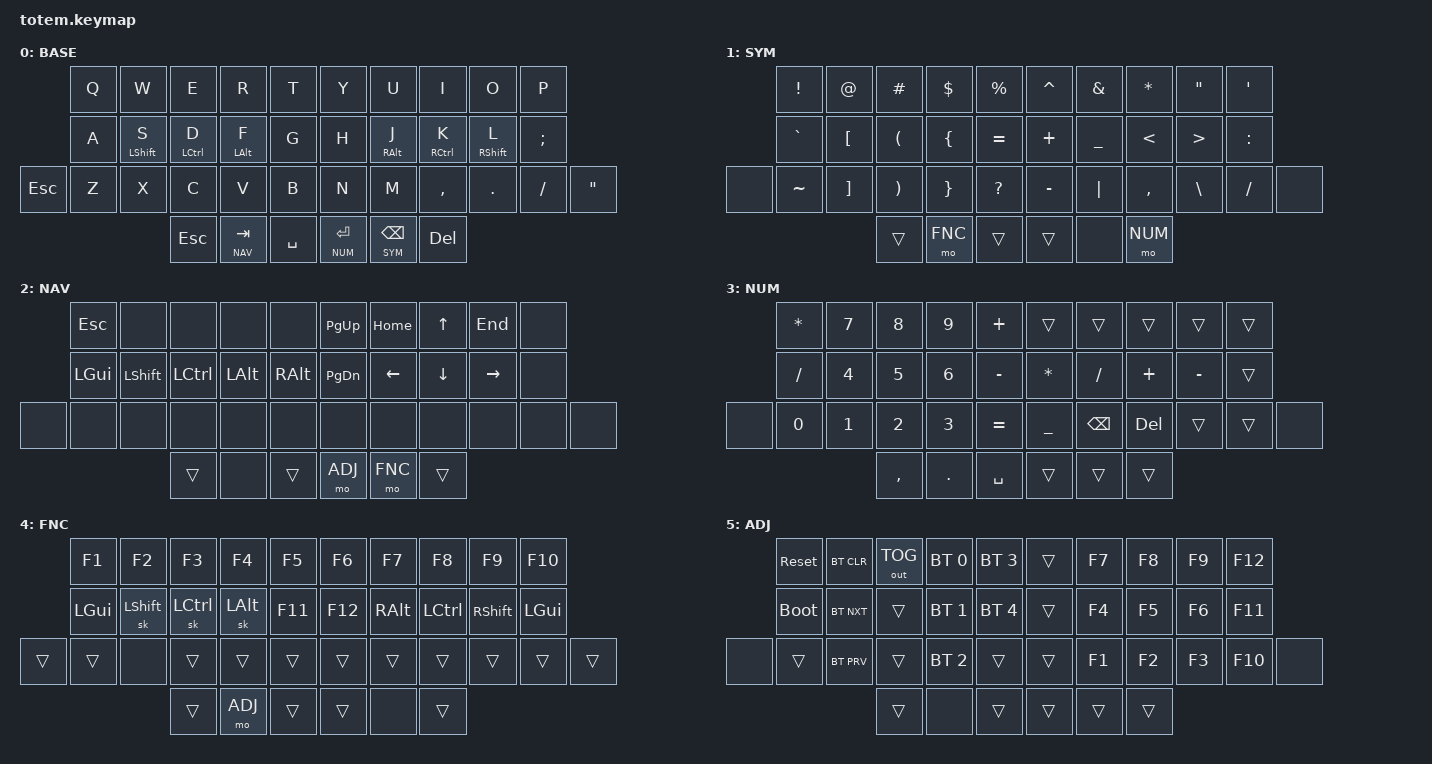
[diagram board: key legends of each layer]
#include <behaviors.dtsi>
#include <dt-bindings/zmk/bt.h>
#include <dt-bindings/zmk/keys.h>
#include <dt-bindings/zmk/outputs.h>

#define BASE 0
#define SYM  1
#define NAV  2
#define NUM  3
#define FNC  4
#define ADJ  5

&sk {
    // don't release mods on other mods presses

    ignore-modifiers;
};

&lt { quick-tap-ms = <200>; };

&mt {
    global-quick-tap;
    quick-tap-ms = <200>;
    flavor = "tap-preferred";
    tapping-term-ms = <190>;
};

&caps_word { continue-list = <UNDERSCORE MINUS BACKSPACE DELETE PLUS>; };

/ {
    behaviors {
        // Enables holding the first mod-tap key
        // by performing a tap-release-hold sequence.
        // To use it: "&qt KEYCODE1 KEYCODE2"

        hm: homerow_mods {
            compatible = "zmk,behavior-hold-tap";
            label = "HOMEROW_MODS";
            #binding-cells = <2>;
            tapping-term-ms = <180>;
            quick-tap-ms = <190>;
            flavor = "tap-preferred";
            bindings = <&kp>, <&kp>;
        };

        hmr: hmr {
            compatible = "zmk,behavior-hold-tap";
            label = "Home Row Mod - Right";
            #binding-cells = <2>;
            tapping-term-ms = <220>;
            quick-tap-ms = <190>;
            flavor = "tap-preferred";
            bindings = <&kp>, <&kp>;

            hold-trigger-key-positions = <0 1 2 3 4 10 11 12 13 14 20 21 22 23 24 32 33 34 25>;
        };

        hml: hml {
            compatible = "zmk,behavior-hold-tap";
            label = "Home Row Mods - Left";
            #binding-cells = <2>;
            tapping-term-ms = <220>;
            quick-tap-ms = <190>;
            flavor = "tap-preferred";
            bindings = <&kp>, <&kp>;

            hold-trigger-key-positions = <5 6 7 8 9 15 16 17 18 19 26 27 28 29 19 26 27 29 30 31 35 36 37>;
        };
    };

    combos {
        compatible = "zmk,combos";

        // Quickly access FNC layer to using function keys
        // Enable capsword

        Capsword {
            bindings = <&caps_word>;
            key-positions = <14 15>;
            timeout-ms = <500>;
            require-prior-idle-ms = <500>;
            layers = <0>;
        };

        qck_fnc {
            bindings = <&sl 4>;
            key-positions = <33 36>;
            timeout-ms = <250>;
            require-prior-idle-ms = <500>;
            layers = <0>;
        };

        qck_bt {
            bindings = <&sl 5>;
            key-positions = <14 13>;
            timeout-ms = <250>;
            require-prior-idle-ms = <550>;
        };

        webdevtools {
            bindings = <&kp F12>;
            key-positions = <31 19>;
            layers = <2>;
            require-prior-idle-ms = <150>;
        };

        // Toggle Capslockcapslock {};
    };

    keymap {
        compatible = "zmk,keymap";

        // ▄▄▄▄▄▄▄▄▄▄▄▄▄▄▄▄▄▄▄▄▄▄▄▄▄▄▄▄▄▄▄▄▄▄▄▄▄▄▄▄▄▄▄▄▄▄▄▄▄▄▄▄▄▄▄▄▄▄▄▄▄▄▄▄▄▄▄▄▄▄▄▄▄▄▄▄▄▄▄▄▄▄▄▄▄▄▄▄▄▄▄▄▄▄▄▄▄▄▄▄▄▄▄▄▄▄▄▄▄▄▄▄▄▄▄▄▄▄▄▄▄▄▄▄▄▄▄▄▄▄▄▄▄▄▄▄▄▄▄▄▄▄▄▄▄▄▄▄▄

        base_layer {
            // ┏━━━━━━━━━━━━━━━━━━━━━━━━━━━━━━━━━━━━━━━┓

            label = "BASE";

            // ┗━━━━━━━━━━━━━━━━━━━━━━━━━━━━━━━━━━━━━━━┛
            //             ┏━━━━━━━━━━━┳━━━━━━━━━━━┳━━━━━━━━━━━┳━━━━━━━━━━━┳━━━━━━━━━━━┓   ┏━━━━━━━━━━━┳━━━━━━━━━━━┳━━━━━━━━━━━┳━━━━━━━━━━━┳━━━━━━━━━━━┓
            //             ┃     Q     ┃     W     ┃     E     ┃     R     ┃     T     ┃   ┃     Y     ┃     U     ┃     I     ┃     O     ┃     P     ┃
            //             ┣━━━━━━━━━━━╋━━━━━━━━━━━╋━━━━━━━━━━━╋━━━━━━━━━━━╋━━━━━━━━━━━┫   ┣━━━━━━━━━━━╋━━━━━━━━━━━╋━━━━━━━━━━━╋━━━━━━━━━━━╋━━━━━━━━━━━┫
            //             ┃     A     ┃  LSFT/S   ┃  LCTRL/D  ┃  LALT/F   ┃     G     ┃   ┃     H     ┃   RALT/J  ┃  RCTRL/K  ┃  RSHFT/L  ┃     ;     ┃
            // ┏━━━━━━━━━━━╋━━━━━━━━━━━╋━━━━━━━━━━━╋━━━━━━━━━━━╋━━━━━━━━━━━╋━━━━━━━━━━━┫   ┣━━━━━━━━━━━╋━━━━━━━━━━━╋━━━━━━━━━━━╋━━━━━━━━━━━╋━━━━━━━━━━━╋━━━━━━━━━━━┓
            // ┃           ┃     Z     ┃     X     ┃     C     ┃     V     ┃     B     ┃   ┃     N     ┃     M     ┃     ,     ┃     .     ┃     /     ┃           ┃
            // ┗━━━━━━━━━━━┻━━━━━━━━━━━┻━━━━━━━━━━━╋━━━━━━━━━━━╋━━━━━━━━━━━╋━━━━━━━━━━━┫   ┣━━━━━━━━━━━╋━━━━━━━━━━━╋━━━━━━━━━━━╋━━━━━━━━━━━┻━━━━━━━━━━━┻━━━━━━━━━━━┛
            //                                     ┃    ESC    ┃    TAB    ┃    SPC    ┃   ┃    ENTR   ┃   BSPC    ┃    DEL    ┃
            //                                     ┗━━━━━━━━━━━┻━━━━━━━━━━━┻━━━━━━━━━━━┛   ┗━━━━━━━━━━━┻━━━━━━━━━━━┻━━━━━━━━━━━┛

            bindings = <
         &kp Q  &kp W         &kp E         &kp R        &kp T        &kp Y        &kp U              &kp I         &kp O         &kp P
         &kp A  &hml LSHFT S  &hml LCTRL D  &hml LALT F  &kp G        &kp H        &hmr RALT J        &hmr RCTRL K  &hmr RSHFT L  &kp SEMI
&kp ESC  &kp Z  &kp X         &kp C         &kp V        &kp B        &kp N        &kp M              &kp COMMA     &kp DOT       &kp FSLH  &kp DQT
                              &kp ESC       &lt NAV TAB  &kp SPACE    &lt NUM RET  &lt SYM BACKSPACE  &kp DEL
            >;
        };

        // ▄▄▄▄▄▄▄▄▄▄▄▄▄▄▄▄▄▄▄▄▄▄▄▄▄▄▄▄▄▄▄▄▄▄▄▄▄▄▄▄▄▄▄▄▄▄▄▄▄▄▄▄▄▄▄▄▄▄▄▄▄▄▄▄▄▄▄▄▄▄▄▄▄▄▄▄▄▄▄▄▄▄▄▄▄▄▄▄▄▄▄▄▄▄▄▄▄▄▄▄▄▄▄▄▄▄▄▄▄▄▄▄▄▄▄▄▄▄▄▄▄▄▄▄▄▄▄▄▄▄▄▄▄▄▄▄▄▄▄▄▄▄▄▄▄▄▄▄▄

        sym_layer {
            // ┏━━━━━━━━━━━━━━━━━━━━━━━━━━━━━━━━━━━━━━━┓

            label = "SYM";

            // ┗━━━━━━━━━━━━━━━━━━━━━━━━━━━━━━━━━━━━━━━┛
            //             ┏━━━━━━━━━━━┳━━━━━━━━━━━┳━━━━━━━━━━━┳━━━━━━━━━━━┳━━━━━━━━━━━┓   ┏━━━━━━━━━━━┳━━━━━━━━━━━┳━━━━━━━━━━━┳━━━━━━━━━━━┳━━━━━━━━━━━┓
            //             ┃     !     ┃     @     ┃     #     ┃     $     ┃     %     ┃   ┃     ^     ┃     &     ┃     *     ┃     "     ┃     '     ┃
            //             ┣━━━━━━━━━━━╋━━━━━━━━━━━╋━━━━━━━━━━━╋━━━━━━━━━━━╋━━━━━━━━━━━┫   ┣━━━━━━━━━━━╋━━━━━━━━━━━╋━━━━━━━━━━━╋━━━━━━━━━━━╋━━━━━━━━━━━┫
            //             ┃     `     ┃     [     ┃     (     ┃     {     ┃     =     ┃   ┃     +     ┃     _     ┃     <     ┃     >     ┃     :     ┃
            // ┏━━━━━━━━━━━╋━━━━━━━━━━━╋━━━━━━━━━━━╋━━━━━━━━━━━╋━━━━━━━━━━━╋━━━━━━━━━━━┫   ┣━━━━━━━━━━━╋━━━━━━━━━━━╋━━━━━━━━━━━╋━━━━━━━━━━━╋━━━━━━━━━━━╋━━━━━━━━━━━┓
            // ┃           ┃     ~     ┃     ]     ┃     )     ┃     }     ┃     ?     ┃   ┃     -     ┃     |     ┃     ,     ┃     \     ┃     /     ┃           ┃
            // ┗━━━━━━━━━━━┻━━━━━━━━━━━┻━━━━━━━━━━━╋━━━━━━━━━━━╋━━━━━━━━━━━╋━━━━━━━━━━━┫   ┣━━━━━━━━━━━╋━━━━━━━━━━━╋━━━━━━━━━━━╋━━━━━━━━━━━┻━━━━━━━━━━━┻━━━━━━━━━━━┛
            //                                     ┃           ┃    FNC    ┃           ┃   ┃           ┃           ┃    NUM    ┃
            //                                     ┗━━━━━━━━━━━┻━━━━━━━━━━━┻━━━━━━━━━━━┛   ┗━━━━━━━━━━━┻━━━━━━━━━━━┻━━━━━━━━━━━┛

            bindings = <
       &kp EXCL   &kp AT    &kp POUND  &kp DOLLAR  &kp PERCENT     &kp CARET  &kp AMPS   &kp ASTRK  &kp DQT        &kp SQT
       &kp GRAVE  &kp LBKT  &kp LPAR   &kp LBRC    &kp EQUAL       &kp PLUS   &kp UNDER  &kp LT     &kp GT         &kp COLON
&none  &kp TILDE  &kp RBKT  &kp RPAR   &kp RBRC    &kp QUESTION    &kp MINUS  &kp PIPE   &kp COMMA  &kp BACKSLASH  &kp FSLH   &none
                            &trans     &mo FNC     &trans          &trans     &none      &mo NUM
            >;
        };

        // ▄▄▄▄▄▄▄▄▄▄▄▄▄▄▄▄▄▄▄▄▄▄▄▄▄▄▄▄▄▄▄▄▄▄▄▄▄▄▄▄▄▄▄▄▄▄▄▄▄▄▄▄▄▄▄▄▄▄▄▄▄▄▄▄▄▄▄▄▄▄▄▄▄▄▄▄▄▄▄▄▄▄▄▄▄▄▄▄▄▄▄▄▄▄▄▄▄▄▄▄▄▄▄▄▄▄▄▄▄▄▄▄▄▄▄▄▄▄▄▄▄▄▄▄▄▄▄▄▄▄▄▄▄▄▄▄▄▄▄▄▄▄▄▄▄▄▄▄▄

        nav_layer {
            // ┏━━━━━━━━━━━━━━━━━━━━━━━━━━━━━━━━━━━━━━━┓

            label = "NAV";

            // ┗━━━━━━━━━━━━━━━━━━━━━━━━━━━━━━━━━━━━━━━┛
            //             ┏━━━━━━━━━━━┳━━━━━━━━━━━┳━━━━━━━━━━━┳━━━━━━━━━━━┳━━━━━━━━━━━┓   ┏━━━━━━━━━━━┳━━━━━━━━━━━┳━━━━━━━━━━━┳━━━━━━━━━━━┳━━━━━━━━━━━┓
            //             ┃    ESC    ┃           ┃           ┃           ┃           ┃   ┃    PGUP   ┃    HOME   ┃     ^     ┃    END    ┃           ┃
            //             ┣━━━━━━━━━━━╋━━━━━━━━━━━╋━━━━━━━━━━━╋━━━━━━━━━━━╋━━━━━━━━━━━┫   ┣━━━━━━━━━━━╋━━━━━━━━━━━╋━━━━━━━━━━━╋━━━━━━━━━━━╋━━━━━━━━━━━┫
            //             ┃    LGUI   ┃   LSHFT   ┃   LCTRL   ┃    LALT   ┃           ┃   ┃    PGDN   ┃     <     ┃     v     ┃      >    ┃           ┃
            // ┏━━━━━━━━━━━╋━━━━━━━━━━━╋━━━━━━━━━━━╋━━━━━━━━━━━╋━━━━━━━━━━━╋━━━━━━━━━━━┫   ┣━━━━━━━━━━━╋━━━━━━━━━━━╋━━━━━━━━━━━╋━━━━━━━━━━━╋━━━━━━━━━━━╋━━━━━━━━━━━┓
            // ┃           ┃           ┃           ┃           ┃           ┃           ┃   ┃  L(BSPC)  ┃   BSPC    ┃    DEL    ┃           ┃           ┃           ┃
            // ┗━━━━━━━━━━━┻━━━━━━━━━━━┻━━━━━━━━━━━╋━━━━━━━━━━━╋━━━━━━━━━━━╋━━━━━━━━━━━┫   ┣━━━━━━━━━━━╋━━━━━━━━━━━╋━━━━━━━━━━━╋━━━━━━━━━━━┻━━━━━━━━━━━┻━━━━━━━━━━━┛
            //                                     ┃           ┃           ┃           ┃   ┃    ADJ    ┃    FNC    ┃           ┃
            //                                     ┗━━━━━━━━━━━┻━━━━━━━━━━━┻━━━━━━━━━━━┛   ┗━━━━━━━━━━━┻━━━━━━━━━━━┻━━━━━━━━━━━┛

            bindings = <
       &kp ESC       &none      &none      &none     &none       &kp PG_UP  &kp HOME  &kp UP    &kp END    &none
       &kp LEFT_GUI  &kp LSHFT  &kp LCTRL  &kp LALT  &kp RALT    &kp PG_DN  &kp LEFT  &kp DOWN  &kp RIGHT  &none
&none  &none         &none      &none      &none     &none       &none      &none     &none     &none      &none  &none
                                &trans     &none     &trans      &mo ADJ    &mo FNC   &trans
            >;
        };

        // ▄▄▄▄▄▄▄▄▄▄▄▄▄▄▄▄▄▄▄▄▄▄▄▄▄▄▄▄▄▄▄▄▄▄▄▄▄▄▄▄▄▄▄▄▄▄▄▄▄▄▄▄▄▄▄▄▄▄▄▄▄▄▄▄▄▄▄▄▄▄▄▄▄▄▄▄▄▄▄▄▄▄▄▄▄▄▄▄▄▄▄▄▄▄▄▄▄▄▄▄▄▄▄▄▄▄▄▄▄▄▄▄▄▄▄▄▄▄▄▄▄▄▄▄▄▄▄▄▄▄▄▄▄▄▄▄▄▄▄▄▄▄▄▄▄▄▄▄▄

        number_layer {
            // ┏━━━━━━━━━━━━━━━━━━━━━━━━━━━━━━━━━━━━━━━┓

            label = "NUM";

            // ┗━━━━━━━━━━━━━━━━━━━━━━━━━━━━━━━━━━━━━━━┛
            //             ┏━━━━━━━━━━━┳━━━━━━━━━━━┳━━━━━━━━━━━┳━━━━━━━━━━━┳━━━━━━━━━━━┓   ┏━━━━━━━━━━━┳━━━━━━━━━━━┳━━━━━━━━━━━┳━━━━━━━━━━━┳━━━━━━━━━━━┓
            //             ┃     *     ┃     7     ┃     8     ┃     9     ┃     +     ┃   ┃           ┃           ┃           ┃           ┃           ┃
            //             ┣━━━━━━━━━━━╋━━━━━━━━━━━╋━━━━━━━━━━━╋━━━━━━━━━━━╋━━━━━━━━━━━┫   ┣━━━━━━━━━━━╋━━━━━━━━━━━╋━━━━━━━━━━━╋━━━━━━━━━━━╋━━━━━━━━━━━┫
            //             ┃     \     ┃     4     ┃     5     ┃     6     ┃     -     ┃   ┃     *     ┃    \      ┃     +     ┃    -      ┃           ┃
            // ┏━━━━━━━━━━━╋━━━━━━━━━━━╋━━━━━━━━━━━╋━━━━━━━━━━━╋━━━━━━━━━━━╋━━━━━━━━━━━┫   ┣━━━━━━━━━━━╋━━━━━━━━━━━╋━━━━━━━━━━━╋━━━━━━━━━━━╋━━━━━━━━━━━╋━━━━━━━━━━━┓
            // ┃           ┃     0     ┃     1     ┃     2     ┃     3     ┃     =     ┃   ┃     _     ┃    BSPC   ┃    DEL    ┃           ┃           ┃           ┃
            // ┗━━━━━━━━━━━┻━━━━━━━━━━━┻━━━━━━━━━━━╋━━━━━━━━━━━╋━━━━━━━━━━━╋━━━━━━━━━━━┫   ┣━━━━━━━━━━━╋━━━━━━━━━━━╋━━━━━━━━━━━╋━━━━━━━━━━━┻━━━━━━━━━━━┻━━━━━━━━━━━┛
            //                                     ┃     ,     ┃     .     ┃    SPC    ┃   ┃           ┃           ┃           ┃
            //                                     ┗━━━━━━━━━━━┻━━━━━━━━━━━┻━━━━━━━━━━━┛   ┗━━━━━━━━━━━┻━━━━━━━━━━━┻━━━━━━━━━━━┛

            bindings = <
       &kp ASTRK  &kp N7  &kp N8     &kp N9   &kp PLUS     &trans     &trans     &trans    &trans     &trans
       &kp SLASH  &kp N4  &kp N5     &kp N6   &kp MINUS    &kp ASTRK  &kp SLASH  &kp PLUS  &kp MINUS  &trans
&none  &kp N0     &kp N1  &kp N2     &kp N3   &kp EQUAL    &kp UNDER  &kp BSPC   &kp DEL   &trans     &trans  &none
                          &kp COMMA  &kp DOT  &kp SPACE    &trans     &trans     &trans
            >;
        };

        // ▄▄▄▄▄▄▄▄▄▄▄▄▄▄▄▄▄▄▄▄▄▄▄▄▄▄▄▄▄▄▄▄▄▄▄▄▄▄▄▄▄▄▄▄▄▄▄▄▄▄▄▄▄▄▄▄▄▄▄▄▄▄▄▄▄▄▄▄▄▄▄▄▄▄▄▄▄▄▄▄▄▄▄▄▄▄▄▄▄▄▄▄▄▄▄▄▄▄▄▄▄▄▄▄▄▄▄▄▄▄▄▄▄▄▄▄▄▄▄▄▄▄▄▄▄▄▄▄▄▄▄▄▄▄▄▄▄▄▄▄▄▄▄▄▄▄▄▄▄

        func_layer {
            // ┏━━━━━━━━━━━━━━━━━━━━━━━━━━━━━━━━━━━━━━━┓

            label = "FNC";

            // ┗━━━━━━━━━━━━━━━━━━━━━━━━━━━━━━━━━━━━━━━┛
            //             ┏━━━━━━━━━━━┳━━━━━━━━━━━┳━━━━━━━━━━━┳━━━━━━━━━━━┳━━━━━━━━━━━┓   ┏━━━━━━━━━━━┳━━━━━━━━━━━┳━━━━━━━━━━━┳━━━━━━━━━━━┳━━━━━━━━━━━┓
            //             ┃     F1    ┃     F2    ┃     F3    ┃     F4    ┃     F5    ┃   ┃     F6    ┃     F7    ┃     F8    ┃     F9    ┃    F10    ┃
            //             ┣━━━━━━━━━━━╋━━━━━━━━━━━╋━━━━━━━━━━━╋━━━━━━━━━━━╋━━━━━━━━━━━┫   ┣━━━━━━━━━━━╋━━━━━━━━━━━╋━━━━━━━━━━━╋━━━━━━━━━━━╋━━━━━━━━━━━┫
            //             ┃    LGUI   ┃    LALT   ┃    LCTL   ┃   LSHIFT  ┃    F11    ┃   ┃    F12    ┃    RALT   ┃    LCTL   ┃  RSHIFT   ┃           ┃
            // ┏━━━━━━━━━━━╋━━━━━━━━━━━╋━━━━━━━━━━━╋━━━━━━━━━━━╋━━━━━━━━━━━╋━━━━━━━━━━━┫   ┣━━━━━━━━━━━╋━━━━━━━━━━━╋━━━━━━━━━━━╋━━━━━━━━━━━╋━━━━━━━━━━━╋━━━━━━━━━━━┓
            // ┃           ┃           ┃           ┃           ┃           ┃           ┃   ┃           ┃           ┃           ┃           ┃           ┃           ┃
            // ┗━━━━━━━━━━━┻━━━━━━━━━━━┻━━━━━━━━━━━╋━━━━━━━━━━━╋━━━━━━━━━━━╋━━━━━━━━━━━┫   ┣━━━━━━━━━━━╋━━━━━━━━━━━╋━━━━━━━━━━━╋━━━━━━━━━━━┻━━━━━━━━━━━┻━━━━━━━━━━━┛
            //                                     ┃           ┃    ADJ    ┃           ┃   ┃           ┃           ┃           ┃
            //                                     ┗━━━━━━━━━━━┻━━━━━━━━━━━┻━━━━━━━━━━━┛   ┗━━━━━━━━━━━┻━━━━━━━━━━━┻━━━━━━━━━━━┛

            bindings = <
        &kp F1    &kp F2     &kp F3     &kp F4    &kp F5     &kp F6   &kp F7    &kp F8     &kp F9     &kp F10
        &kp LGUI  &sk LSHFT  &sk LCTRL  &sk LALT  &kp F11    &kp F12  &kp RALT  &kp LCTRL  &kp RSHFT  &kp LGUI
&trans  &trans    &none      &trans     &trans    &trans     &trans   &trans    &trans     &trans     &trans    &trans
                             &trans     &mo ADJ   &trans     &trans   &none     &trans
            >;
        };

        // ▄▄▄▄▄▄▄▄▄▄▄▄▄▄▄▄▄▄▄▄▄▄▄▄▄▄▄▄▄▄▄▄▄▄▄▄▄▄▄▄▄▄▄▄▄▄▄▄▄▄▄▄▄▄▄▄▄▄▄▄▄▄▄▄▄▄▄▄▄▄▄▄▄▄▄▄▄▄▄▄▄▄▄▄▄▄▄▄▄▄▄▄▄▄▄▄▄▄▄▄▄▄▄▄▄▄▄▄▄▄▄▄▄▄▄▄▄▄▄▄▄▄▄▄▄▄▄▄▄▄▄▄▄▄▄▄▄▄▄▄▄▄▄▄▄▄▄▄▄

        adjust_layer {
            // ┏━━━━━━━━━━━━━━━━━━━━━━━━━━━━━━━━━━━━━━━┓

            label = "ADJ";

            // ┗━━━━━━━━━━━━━━━━━━━━━━━━━━━━━━━━━━━━━━━┛
            //             ┏━━━━━━━━━━━┳━━━━━━━━━━━┳━━━━━━━━━━━┳━━━━━━━━━━━┳━━━━━━━━━━━┓   ┏━━━━━━━━━━━┳━━━━━━━━━━━┳━━━━━━━━━━━┳━━━━━━━━━━━┳━━━━━━━━━━━┓
            //             ┃   RESET   ┃ BT CLEAR  ┃  OUT TOG  ┃    BT0    ┃    BT3    ┃   ┃           ┃    F7     ┃    F8     ┃    F9     ┃    F12    ┃
            //             ┣━━━━━━━━━━━╋━━━━━━━━━━━╋━━━━━━━━━━━╋━━━━━━━━━━━╋━━━━━━━━━━━┫   ┣━━━━━━━━━━━╋━━━━━━━━━━━╋━━━━━━━━━━━╋━━━━━━━━━━━╋━━━━━━━━━━━┫
            //             ┃ BOOTLOAD  ┃ BT NEXT   ┃           ┃    BT1    ┃    BT4    ┃   ┃           ┃    F4     ┃    F5     ┃    F6     ┃    F11    ┃
            // ┏━━━━━━━━━━━╋━━━━━━━━━━━╋━━━━━━━━━━━╋━━━━━━━━━━━╋━━━━━━━━━━━╋━━━━━━━━━━━┫   ┣━━━━━━━━━━━╋━━━━━━━━━━━╋━━━━━━━━━━━╋━━━━━━━━━━━╋━━━━━━━━━━━╋━━━━━━━━━━━┓
            // ┃           ┃           ┃ BT PREV   ┃           ┃    BT2    ┃           ┃   ┃           ┃    F1     ┃    F2     ┃    F3     ┃    F10    ┃           ┃
            // ┗━━━━━━━━━━━┻━━━━━━━━━━━┻━━━━━━━━━━━╋━━━━━━━━━━━╋━━━━━━━━━━━╋━━━━━━━━━━━┫   ┣━━━━━━━━━━━╋━━━━━━━━━━━╋━━━━━━━━━━━╋━━━━━━━━━━━┻━━━━━━━━━━━┻━━━━━━━━━━━┛
            //                                     ┃           ┃           ┃           ┃   ┃           ┃           ┃           ┃
            //                                     ┗━━━━━━━━━━━┻━━━━━━━━━━━┻━━━━━━━━━━━┛   ┗━━━━━━━━━━━┻━━━━━━━━━━━┻━━━━━━━━━━━┛

            bindings = <
       &sys_reset   &bt BT_CLR  &out OUT_TOG  &bt BT_SEL 0  &bt BT_SEL 3    &trans  &kp F7  &kp F8  &kp F9  &kp F12
       &bootloader  &bt BT_NXT  &trans        &bt BT_SEL 1  &bt BT_SEL 4    &trans  &kp F4  &kp F5  &kp F6  &kp F11
&none  &trans       &bt BT_PRV  &trans        &bt BT_SEL 2  &trans          &trans  &kp F1  &kp F2  &kp F3  &kp F10  &none
                                &trans        &none         &trans          &trans  &trans  &trans
            >;
        };
    };
};
